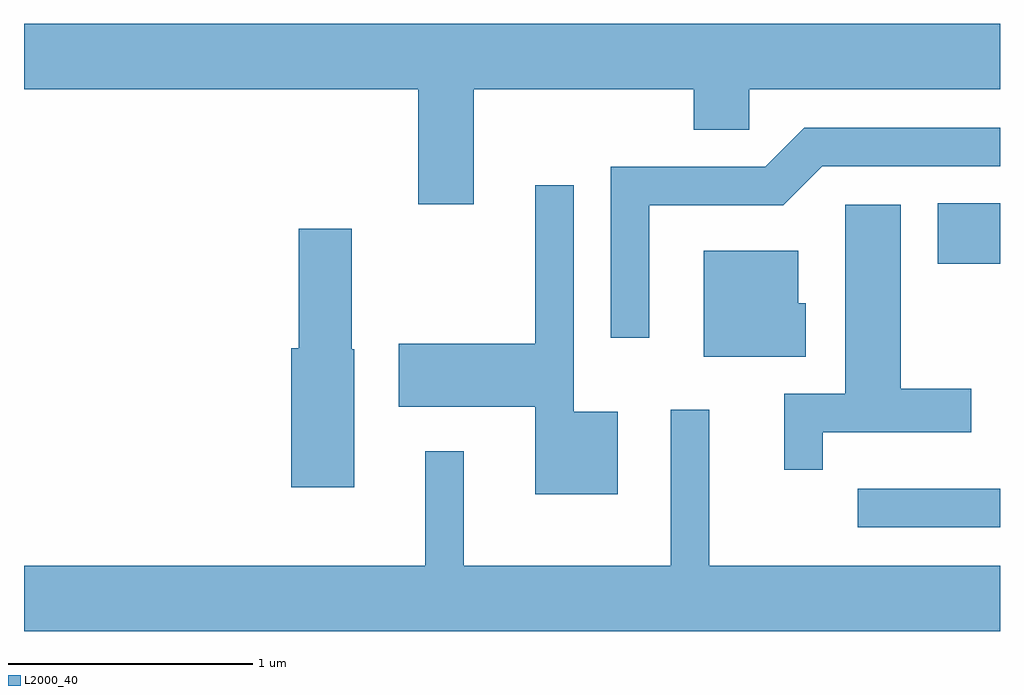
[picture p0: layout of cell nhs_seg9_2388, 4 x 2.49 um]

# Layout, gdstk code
import gdstk
lib = gdstk.Library(unit=1e-6, precision=1e-09)
def R(c, l, rs):  # rectangles x0, y0, x1, y1
    for r in rs: c.add(gdstk.rectangle(r[:2], r[2:], *l))
def P(c, l, *ps):  # polygons
    for p in ps: c.add(gdstk.Polygon(p, *l))
L2000_40 = (2000, 40)

nhs_seg9_2388 = lib.new_cell('nhs_seg9_2388')
R(nhs_seg9_2388, L2000_40, [(259.028,1970.041,259.611,1970.199), (259.356,1971.121,259.611,1971.369)])
P(nhs_seg9_2388, L2000_40, [(257.454,1971.836),(258.356,1971.836),(258.356,1971.671),(258.584,1971.671),(258.584,1971.836),(259.611,1971.836),(259.611,1972.104),(255.611,1972.104),(255.611,1971.836),(257.226,1971.836),(257.226,1971.366),(257.454,1971.366)],
  [(258.174,1971.361),(258.722,1971.361),(258.882,1971.521),(259.611,1971.521),(259.611,1971.679),(258.808,1971.679),(258.649,1971.519),(258.016,1971.519),(258.016,1970.818),(258.174,1970.818)],
  [(258.044,1970.514),(257.864,1970.514),(257.864,1971.443),(257.706,1971.443),(257.706,1970.794),(257.146,1970.794),(257.146,1970.536),(257.706,1970.536),(257.706,1970.176),(258.044,1970.176)],
  [(258.884,1970.431),(259.494,1970.431),(259.494,1970.609),(259.204,1970.609),(259.204,1971.364),(258.976,1971.364),(258.976,1970.589),(258.726,1970.589),(258.726,1970.278),(258.884,1970.278)],
  [(256.964,1970.77),(256.954,1970.77),(256.954,1971.264),(256.736,1971.264),(256.736,1970.774),(256.706,1970.774),(256.706,1970.206),(256.964,1970.206)],
  [(258.814,1970.959),(258.784,1970.959),(258.784,1971.174),(258.396,1971.174),(258.396,1970.741),(258.814,1970.741)],
  [(259.611,1969.884),(258.419,1969.884),(258.419,1970.523),(258.261,1970.523),(258.261,1969.884),(257.414,1969.884),(257.414,1970.353),(257.256,1970.353),(257.256,1969.884),(255.611,1969.884),(255.611,1969.616),(259.611,1969.616)])

lib.write_gds('nhs_seg9_2388.gds')
